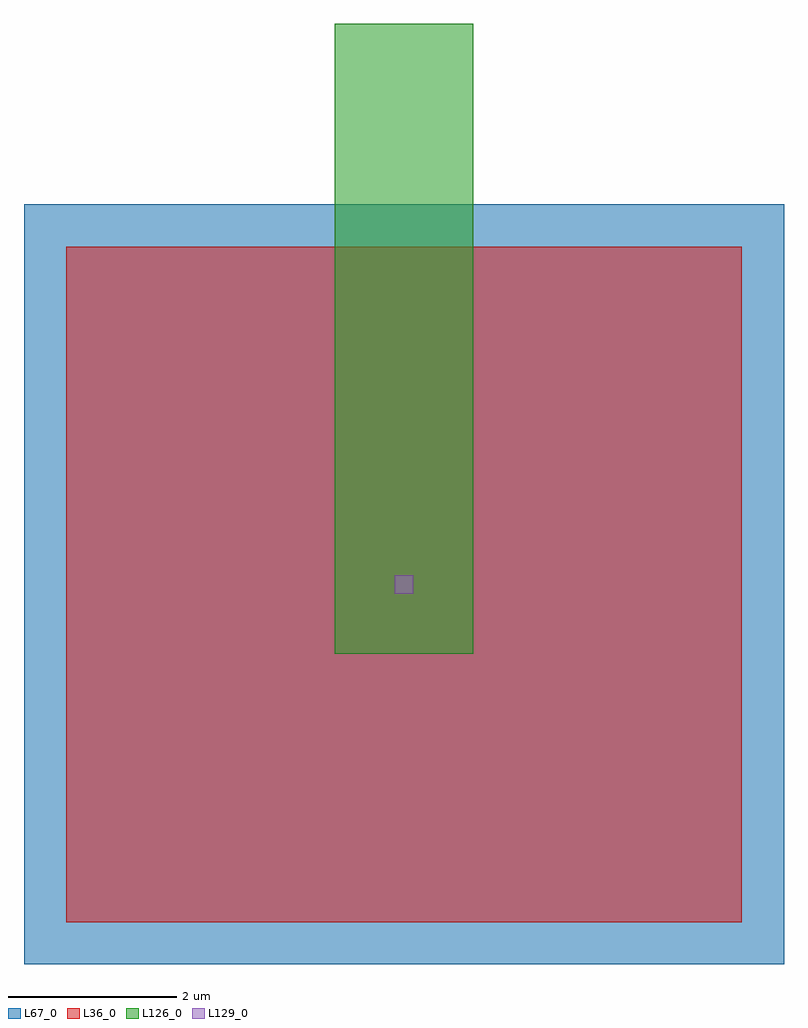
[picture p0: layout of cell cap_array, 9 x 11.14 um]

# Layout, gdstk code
import gdstk
lib = gdstk.Library(unit=1e-6, precision=1e-09)
def R(c, l, rs):  # rectangles x0, y0, x1, y1
    for r in rs: c.add(gdstk.rectangle(r[:2], r[2:], *l))
L36_0 = (36, 0)
L67_0 = (67, 0)
L126_0 = (126, 0)
L129_0 = (129, 0)

cap_array = lib.new_cell('cap_array')
R(cap_array, L36_0, [(0.5,0.5,8.5,8.5)])
R(cap_array, L67_0, [(0,0,9,9)])
R(cap_array, L126_0, [(3.68,3.68,5.32,5.32), (3.68,5.32,5.32,9.5), (3.68,9.5,5.32,11.14)])
R(cap_array, L129_0, [(4.39,4.39,4.61,4.61)])

lib.write_gds('cap_array.gds')
